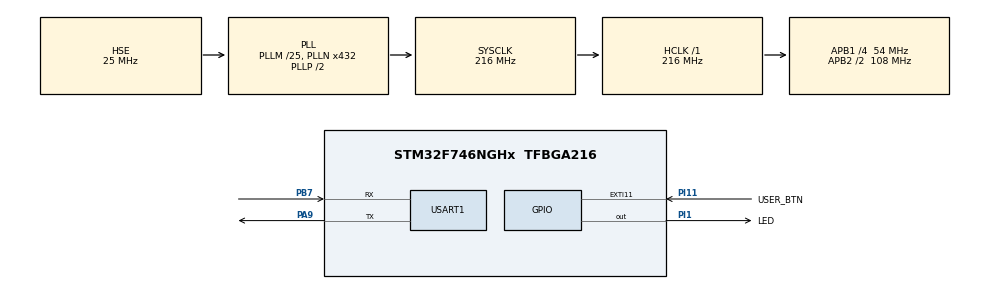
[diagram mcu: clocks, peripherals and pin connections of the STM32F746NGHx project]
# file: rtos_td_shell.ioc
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FREERTOS.Tasks01=defaultTask,0,128,StartDefaultTask,Default,NULL,Dynamic,NULL,NULL
FREERTOS.configCHECK_FOR_STACK_OVERFLOW=1
FREERTOS.configGENERATE_RUN_TIME_STATS=1
FREERTOS.configLIBRARY_MAX_SYSCALL_INTERRUPT_PRIORITY=5
FREERTOS.configTOTAL_HEAP_SIZE=153600
FREERTOS.configUSE_STATS_FORMATTING_FUNCTIONS=1
FREERTOS.configUSE_TIMERS=1
FREERTOS.configUSE_TRACE_FACILITY=1
Mcu.Family=STM32F7
Mcu.Name=STM32F746NGHx
Mcu.Package=TFBGA216
NVIC.PriorityGroup=NVIC_PRIORITYGROUP_4
NVIC.TIM6_DAC_IRQn=true\:15\:0\:false\:false\:true\:false\:false\:true\:true
NVIC.TimeBase=TIM6_DAC_IRQn
NVIC.TimeBaseIP=TIM6
NVIC.USART1_IRQn=true\:5\:0\:true\:false\:true\:true\:true\:true\:true
PA13.Mode=Serial_Wire
PA13.Signal=SYS_JTMS-SWDIO
PA14.Mode=Serial_Wire
PA14.Signal=SYS_JTCK-SWCLK
PA9.Mode=Asynchronous
PA9.Signal=USART1_TX
PB7.Mode=Asynchronous
PB7.Signal=USART1_RX
PH0/OSC_IN.Mode=HSE-External-Oscillator
PH0/OSC_IN.Signal=RCC_OSC_IN
PH1/OSC_OUT.Mode=HSE-External-Oscillator
PH1/OSC_OUT.Signal=RCC_OSC_OUT
PI1.GPIO_Label=LED
PI1.Signal=GPIO_Output
PI11.GPIO_Label=USER_BTN
PI11.Signal=GPXTI11
ProjectManager.HeapSize=0x200
ProjectManager.StackSize=0x400
ProjectManager.TargetToolchain=STM32CubeIDE
RCC.AHBFreq_Value=216000000
RCC.APB1CLKDivider=RCC_HCLK_DIV4
RCC.APB1Freq_Value=54000000
RCC.APB1TimFreq_Value=108000000
RCC.APB2CLKDivider=RCC_HCLK_DIV2
RCC.APB2Freq_Value=108000000
RCC.APB2TimFreq_Value=216000000
RCC.CortexFreq_Value=216000000
RCC.HCLKFreq_Value=216000000
RCC.HSE_VALUE=25000000
RCC.HSI_VALUE=16000000
RCC.LSE_VALUE=32768
RCC.PLLM=25
RCC.PLLN=432
RCC.PLLSourceVirtual=RCC_PLLSOURCE_HSE
RCC.SYSCLKFreq_VALUE=216000000
RCC.SYSCLKSource=RCC_SYSCLKSOURCE_PLLCLK
RCC.USBFreq_Value=216000000
RCC.VCOOutputFreq_Value=432000000
USART1.VirtualMode-Asynchronous=VM_ASYNC
VP_FREERTOS_VS_CMSIS_V1.Mode=CMSIS_V1
VP_SYS_VS_tim6.Mode=TIM6
board=STM32F746G-DISCO

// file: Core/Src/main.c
/* USER CODE BEGIN Header */
/**
 ******************************************************************************
 * @file           : main.c
 * @brief          : Main program body
 ******************************************************************************
 * @attention
 *
 * Copyright (c) 2022 STMicroelectronics.
 * All rights reserved.
 *
 * This software is licensed under terms that can be found in the LICENSE file
 * in the root directory of this software component.
 * If no LICENSE file comes with this software, it is provided AS-IS.
 *
 ******************************************************************************
 */
/* USER CODE END Header */
#include "main.h"
#include "cmsis_os.h"
#include "usart.h"
#include "gpio.h"

/* USER CODE BEGIN Includes */
#include <stdio.h>
#include <stdlib.h>

#include "shell.h"
#include "drv_uart1.h"

#include "timers.h"
/* USER CODE END Includes */

/* USER CODE BEGIN PD */
#define TASK_LED_PRIORITY 6
#define TASK_LED_STACK_DEPTH 250

#define TASK_SPAM_PRIORITY 7
#define TASK_SPAM_STACK_DEPTH 250

#define TASK_SHELL_RUN_PRIORITY 10
#define TASK_SHELL_RUN_STACK_DEPTH 250
/* USER CODE END PD */

/* USER CODE BEGIN PV */
h_shell_t h_shell;

QueueHandle_t xQueue;
QueueHandle_t xQueueSPAM;

TimerHandle_t h_timer;
/* USER CODE END PV */

void SystemClock_Config(void);
void MX_FREERTOS_Init(void);

/* USER CODE BEGIN 0 */
int __io_putchar(int ch)
{
	HAL_UART_Transmit(&huart1, (uint8_t*)&ch, 1, HAL_MAX_DELAY);

	return ch;
}

int fonction(h_shell_t * h_shell, int argc, char ** argv)
{
	int size = snprintf (h_shell->print_buffer, BUFFER_SIZE, "Je suis une fonction bidon\r\n");
	h_shell->drv.transmit(h_shell->print_buffer, size);

	return 0;
}

void task_led(void *unused)
{
	TickType_t delay;
	for(;;)
	{
		if (xQueueReceive(xQueue, &delay, portMAX_DELAY) == pdTRUE)
		{
			if (delay > 0)
			{
				for (;;)
				{
					HAL_GPIO_TogglePin(GPIOI, GPIO_PIN_1);
					vTaskDelay((TickType_t) delay);
					if (xQueueReceive(xQueue, &delay, 0) == pdTRUE)
					{
						if (delay == 0)
						{
							HAL_GPIO_WritePin(GPIOI, GPIO_PIN_1, GPIO_PIN_RESET); // LED OFF
							break;
						}
					}
					else
					{
						printf("Could not receive Queue LED\r\n");
						Error_Handler();
					}
				}
			}
			else
			{
				HAL_GPIO_WritePin(GPIOI, GPIO_PIN_1, GPIO_PIN_RESET); // LED OFF
			}
		}
	}
}

void led(h_shell_t * h_shell, int argc, char ** argv)
{
	if (argc > 1)
	{
		TickType_t delay = atoi(argv[1]);
		xQueueSend(xQueue, &delay, portMAX_DELAY);
	}
	else
	{
		printf("Veuillez renseigner un delai (en ms)\r\n");
	}
}

void task_spam(void *unused)
{
	char *message;
	for(;;)
	{
		if (xQueueReceive(xQueueSPAM, &message, portMAX_DELAY) == pdTRUE)
		{
			printf("%s\r\n", message);
		}
		else
		{
			printf("Could not receive Queue SPAM\r\n");
			Error_Handler();
		}
	}
}

void spam(h_shell_t * h_shell, int argc, char ** argv)
{
	if (argc > 2)
	{
		char *message = argv[1];
		int16_t iter = atoi(argv[2]);
		printf("\n\r");
		for (int i = 0; i < iter; i++)
		{
			xQueueSend(xQueueSPAM, &message, portMAX_DELAY);
		}
	}
	else
	{
		printf("Veuillez renseigner un message et un nombre d'iterations\r\n");
	}
}

void display_stats(h_shell_t * h_shell, int argc, char ** argv)
{
	char runtime_stats[256];
	vTaskGetRunTimeStats(runtime_stats);
	printf("----- vTaskGetRunTimeStats -----\r\n%s--------------------------------\r\n", runtime_stats);

	char task_list[1024];
	vTaskList(task_list);
	printf("----- vTaskList -----\r\n%s---------------------\r\n", task_list);
}

void task_shell_run(void *parameters)
{
	shell_run(&h_shell);
}

void vApplicationStackOverflowHook(TaskHandle_t xTask, char *pcTaskName)
{
	printf("La tache [%s] a genere un overflow.\r\n", pcTaskName);
}

void configureTimerForRunTimeStats(void)
{
	h_timer = xTimerCreate("Mon premier timer :)", 1000, pdTRUE, (void *)0, NULL);

	if (h_timer == NULL) {
		Error_Handler();
	}

	if (xTimerStart(h_timer, 0) != pdPASS) {
		Error_Handler();
	}
}

unsigned long getRunTimeCounterValue(void)
{
	return (unsigned long)xTaskGetTickCount();
}

/* USER CODE END 0 */

int main(void)
{

	/* MCU Configuration--------------------------------------------------------*/

	/* Reset of all peripherals, Initializes the Flash interface and the Systick. */
	HAL_Init();

	/* Configure the system clock */
	SystemClock_Config();

	/* Initialize all configured peripherals */
	MX_GPIO_Init();
	MX_USART1_UART_Init();
	/* USER CODE BEGIN 2 */
	xQueue = xQueueCreate(10, sizeof(TickType_t));
	xQueueSPAM = xQueueCreate(10, sizeof(char *));

	vQueueAddToRegistry(xQueueSPAM, "Queue SPAM");

	h_shell.drv.receive = drv_uart1_receive;
	h_shell.drv.transmit = drv_uart1_transmit;

	shell_init(&h_shell);
	shell_add(&h_shell, 'f', fonction, "Une fonction inutile");
	//shell_add(&h_shell, 'l', led, "Faire clignoter une LED");
	shell_add(&h_shell, 's', spam, "Envoyer des messages");
	shell_add(&h_shell, 'd', display_stats, "Afficher les statistiques d'execution");

	BaseType_t returned_value;
	//returned_value = xTaskCreate(task_led, "Task LED", TASK_LED_STACK_DEPTH, NULL, TASK_LED_PRIORITY, NULL);
	//if (returned_value != pdPASS) // pas assez de mémoire pour allouer la tâche
	//{
	//	printf("Could not allocate Task LED\r\n");
	//	Error_Handler();
	//}

	returned_value = xTaskCreate(task_spam, "Task SPAM", TASK_SPAM_STACK_DEPTH, NULL, TASK_SPAM_PRIORITY, NULL);
	if (returned_value != pdPASS) // pas assez de mémoire pour allouer la tâche
	{
		printf("Could not allocate Task SPAM\r\n");
		Error_Handler();
	}

	returned_value = xTaskCreate(task_shell_run, "Task Shell Run", TASK_SHELL_RUN_STACK_DEPTH, (void *)&h_shell, TASK_SHELL_RUN_PRIORITY, NULL);
	if (returned_value != pdPASS) // pas assez de mémoire pour allouer la tâche
	{
		printf("Could not allocate Task Shell Run\r\n");
		Error_Handler();
	}

	vTaskStartScheduler(); // Appelle l'OS (avec une fonction freertos)
	/* USER CODE END 2 */

	/* Call init function for freertos objects (in freertos.c) */
	MX_FREERTOS_Init();

	/* Start scheduler */
	osKernelStart();

	/* We should never get here as control is now taken by the scheduler */
	/* Infinite loop */
	while (1)
	{

	}
}

void SystemClock_Config(void)
{
	RCC_OscInitTypeDef RCC_OscInitStruct = {0};
	RCC_ClkInitTypeDef RCC_ClkInitStruct = {0};

	/** Configure the main internal regulator output voltage
	 */
	__HAL_RCC_PWR_CLK_ENABLE();
	__HAL_PWR_VOLTAGESCALING_CONFIG(PWR_REGULATOR_VOLTAGE_SCALE1);

	/** Initializes the RCC Oscillators according to the specified parameters
	 * in the RCC_OscInitTypeDef structure.
	 */
	RCC_OscInitStruct.OscillatorType = RCC_OSCILLATORTYPE_HSE;
	RCC_OscInitStruct.HSEState = RCC_HSE_ON;
	RCC_OscInitStruct.PLL.PLLState = RCC_PLL_ON;
	RCC_OscInitStruct.PLL.PLLSource = RCC_PLLSOURCE_HSE;
	RCC_OscInitStruct.PLL.PLLM = 25;
	RCC_OscInitStruct.PLL.PLLN = 432;
	RCC_OscInitStruct.PLL.PLLP = RCC_PLLP_DIV2;
	RCC_OscInitStruct.PLL.PLLQ = 2;
	if (HAL_RCC_OscConfig(&RCC_OscInitStruct) != HAL_OK)
	{
		Error_Handler();
	}

	/** Activate the Over-Drive mode
	 */
	if (HAL_PWREx_EnableOverDrive() != HAL_OK)
	{
		Error_Handler();
	}

	/** Initializes the CPU, AHB and APB buses clocks
	 */
	RCC_ClkInitStruct.ClockType = RCC_CLOCKTYPE_HCLK|RCC_CLOCKTYPE_SYSCLK
			|RCC_CLOCKTYPE_PCLK1|RCC_CLOCKTYPE_PCLK2;
	RCC_ClkInitStruct.SYSCLKSource = RCC_SYSCLKSOURCE_PLLCLK;
	RCC_ClkInitStruct.AHBCLKDivider = RCC_SYSCLK_DIV1;
	RCC_ClkInitStruct.APB1CLKDivider = RCC_HCLK_DIV4;
	RCC_ClkInitStruct.APB2CLKDivider = RCC_HCLK_DIV2;

	if (HAL_RCC_ClockConfig(&RCC_ClkInitStruct, FLASH_LATENCY_7) != HAL_OK)
	{
		Error_Handler();
	}
}

void HAL_TIM_PeriodElapsedCallback(TIM_HandleTypeDef *htim)
{
	if (htim->Instance == TIM6) {
		HAL_IncTick();
	}
}

void Error_Handler(void)
{
	__disable_irq();
	while (1)
	{
	}
}

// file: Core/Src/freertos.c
/* USER CODE BEGIN Header */
/**
  ******************************************************************************
  * File Name          : freertos.c
  * Description        : Code for freertos applications
  ******************************************************************************
  * @attention
  *
  * Copyright (c) 2025 STMicroelectronics.
  * All rights reserved.
  *
  * This software is licensed under terms that can be found in the LICENSE file
  * in the root directory of this software component.
  * If no LICENSE file comes with this software, it is provided AS-IS.
  *
  ******************************************************************************
  */
/* USER CODE END Header */

#include "FreeRTOS.h"
#include "task.h"
#include "main.h"
#include "cmsis_os.h"

osThreadId defaultTaskHandle;

void StartDefaultTask(void const * argument);

void MX_FREERTOS_Init(void); /* (MISRA C 2004 rule 8.1) */

/* GetIdleTaskMemory prototype (linked to static allocation support) */
void vApplicationGetIdleTaskMemory( StaticTask_t **ppxIdleTaskTCBBuffer, StackType_t **ppxIdleTaskStackBuffer, uint32_t *pulIdleTaskStackSize );

/* GetTimerTaskMemory prototype (linked to static allocation support) */
void vApplicationGetTimerTaskMemory( StaticTask_t **ppxTimerTaskTCBBuffer, StackType_t **ppxTimerTaskStackBuffer, uint32_t *pulTimerTaskStackSize );

/* Hook prototypes */
void configureTimerForRunTimeStats(void);
unsigned long getRunTimeCounterValue(void);
void vApplicationStackOverflowHook(xTaskHandle xTask, signed char *pcTaskName);

/* USER CODE BEGIN 1 */
/* Functions needed when configGENERATE_RUN_TIME_STATS is on */
__weak void configureTimerForRunTimeStats(void)
{

}

__weak unsigned long getRunTimeCounterValue(void)
{
return 0;
}
/* USER CODE END 1 */

/* USER CODE BEGIN 4 */
__weak void vApplicationStackOverflowHook(xTaskHandle xTask, signed char *pcTaskName)
{
   /* Run time stack overflow checking is performed if
   configCHECK_FOR_STACK_OVERFLOW is defined to 1 or 2. This hook function is
   called if a stack overflow is detected. */
}
/* USER CODE END 4 */

/* USER CODE BEGIN GET_IDLE_TASK_MEMORY */
static StaticTask_t xIdleTaskTCBBuffer;
static StackType_t xIdleStack[configMINIMAL_STACK_SIZE];

void vApplicationGetIdleTaskMemory( StaticTask_t **ppxIdleTaskTCBBuffer, StackType_t **ppxIdleTaskStackBuffer, uint32_t *pulIdleTaskStackSize )
{
  *ppxIdleTaskTCBBuffer = &xIdleTaskTCBBuffer;
  *ppxIdleTaskStackBuffer = &xIdleStack[0];
  *pulIdleTaskStackSize = configMINIMAL_STACK_SIZE;
  /* place for user code */
}
/* USER CODE END GET_IDLE_TASK_MEMORY */

/* USER CODE BEGIN GET_TIMER_TASK_MEMORY */
static StaticTask_t xTimerTaskTCBBuffer;
static StackType_t xTimerStack[configTIMER_TASK_STACK_DEPTH];

void vApplicationGetTimerTaskMemory( StaticTask_t **ppxTimerTaskTCBBuffer, StackType_t **ppxTimerTaskStackBuffer, uint32_t *pulTimerTaskStackSize )
{
  *ppxTimerTaskTCBBuffer = &xTimerTaskTCBBuffer;
  *ppxTimerTaskStackBuffer = &xTimerStack[0];
  *pulTimerTaskStackSize = configTIMER_TASK_STACK_DEPTH;
  /* place for user code */
}
/* USER CODE END GET_TIMER_TASK_MEMORY */

void MX_FREERTOS_Init(void) {

  /* Create the thread(s) */
  /* definition and creation of defaultTask */
  osThreadDef(defaultTask, StartDefaultTask, osPriorityNormal, 0, 128);
  defaultTaskHandle = osThreadCreate(osThread(defaultTask), NULL);

}

void StartDefaultTask(void const * argument)
{
  for(;;)
  {
    osDelay(1);
  }
}
